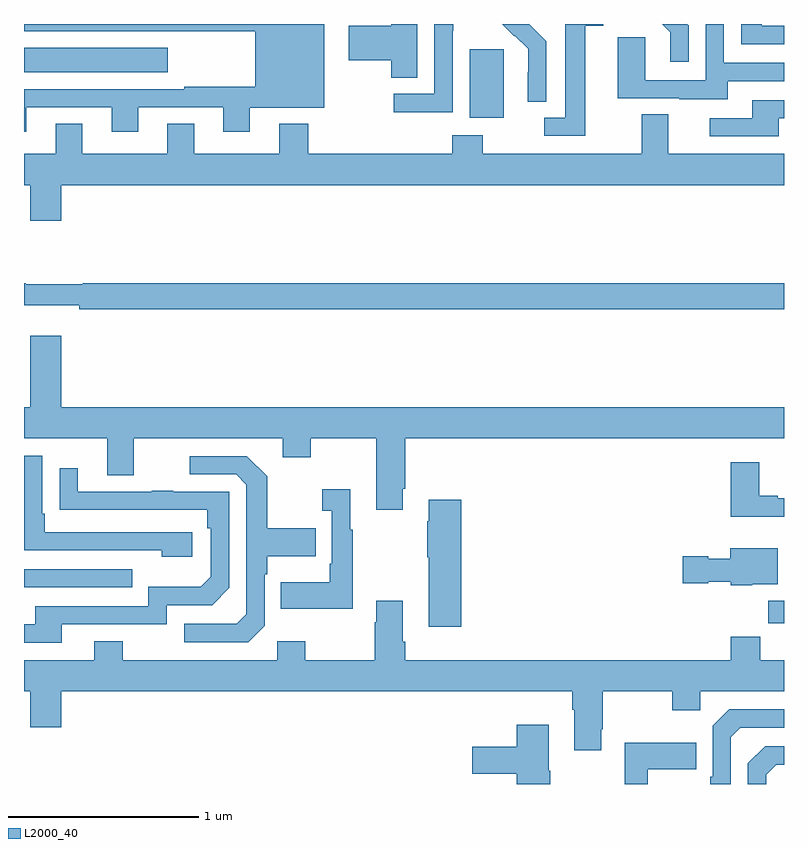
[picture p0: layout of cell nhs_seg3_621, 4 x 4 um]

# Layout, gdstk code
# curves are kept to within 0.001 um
import gdstk
lib = gdstk.Library(unit=1e-6, precision=1e-09)
def R(c, l, rs):  # rectangles x0, y0, x1, y1
    for r in rs: c.add(gdstk.rectangle(r[:2], r[2:], *l))
def P(c, l, *ps):  # polygons
    for p in ps: c.add(gdstk.Polygon(p, *l))
L2000_40 = (2000, 40)

nhs_seg3_621 = lib.new_cell('nhs_seg3_621')
R(nhs_seg3_621, L2000_40, [(144.916,729.246,145,729.364), (141,729.435,141.569,729.531), (143.345,731.906,143.524,732.267), (141,732.146,141.757,732.274)])
P(nhs_seg3_621, L2000_40, [(145,732.39),(144.883,732.39),(144.883,732.4),(144.774,732.4),(144.774,732.294),(145,732.294)],
  [(143.953,732.392),(144.049,732.392),(144.049,732.4),(143.849,732.4),(143.849,731.907),(143.739,731.907),(143.739,731.811),(143.953,731.811)],
  [(144.703,732.099),(145,732.099),(145,732.195),(144.684,732.195),(144.684,732.4),(144.588,732.4),(144.588,732.105),(144.27,732.105),(144.27,732.329),(144.125,732.329),(144.125,732.009),(144.449,732.009),(144.449,732.005),(144.703,732.005)],
  [(143.071,732.4),(142.933,732.4),(142.933,732.392),(142.71,732.392),(142.71,732.209),(142.933,732.209),(142.933,732.118),(143.071,732.118)],
  [(141.013,731.961),(141.461,731.961),(141.461,731.832),(141.601,731.832),(141.601,731.961),(142.049,731.961),(142.049,731.832),(142.189,731.832),(142.189,731.96),(142.579,731.96),(142.579,732.4),(141,732.4),(141,732.362),(142.217,732.362),(142.217,732.07),(141.844,732.07),(141.844,732.057),(141,732.057),(141,731.832),(141.013,731.832)],
  [(144.498,732.394),(144.492,732.4),(144.358,732.4),(144.401,732.357),(144.401,732.201),(144.498,732.201)],
  [(143.748,732.31),(143.675,732.383),(143.676,732.384),(143.66,732.4),(143.516,732.4),(143.58,732.336),(143.583,732.339),(143.654,732.269),(143.654,732.146),(143.652,732.146),(143.652,731.992),(143.748,731.992)],
  [(143.256,732.364),(143.259,732.364),(143.259,732.4),(143.16,732.4),(143.16,732.033),(142.947,732.033),(142.947,731.935),(143.256,731.935)],
  [(144.973,731.904),(145,731.904),(145,732),(144.833,732),(144.833,731.904),(144.609,731.904),(144.609,731.808),(144.973,731.808)],
  [(141.196,731.552),(145,731.552),(145,731.716),(144.391,731.716),(144.391,731.924),(144.251,731.924),(144.251,731.716),(143.415,731.716),(143.415,731.815),(143.255,731.815),(143.255,731.716),(142.496,731.716),(142.496,731.875),(142.343,731.875),(142.343,731.716),(141.895,731.716),(141.895,731.876),(141.755,731.876),(141.755,731.716),(141.307,731.716),(141.307,731.876),(141.167,731.876),(141.167,731.716),(141,731.716),(141,731.552),(141.032,731.552),(141.032,731.364),(141.196,731.364)],
  [(145,731.036),(141.31,731.036),(141.31,731.029),(141.01,731.029),(141.01,731.036),(141,731.036),(141,730.919),(141.292,730.919),(141.292,730.9),(145,730.9)],
  [(142.993,729.955),(143.006,729.955),(143.006,730.22),(145,730.22),(145,730.384),(141.196,730.384),(141.196,730.759),(141.032,730.759),(141.032,730.384),(141,730.384),(141,730.22),(141.437,730.22),(141.437,730.026),(141.577,730.026),(141.577,730.22),(142.361,730.22),(142.361,730.121),(142.509,730.121),(142.509,730.22),(142.853,730.22),(142.853,729.843),(142.993,729.843)],
  [(141.886,729.726),(141.109,729.726),(141.109,729.823),(141.096,729.823),(141.096,730.128),(141,730.128),(141,729.63),(141.725,729.63),(141.725,729.596),(141.886,729.596)],
  [(142.266,729.234),(142.266,729.503),(142.279,729.503),(142.279,729.599),(142.535,729.599),(142.535,729.747),(142.279,729.747),(142.279,730.019),(142.173,730.125),(141.873,730.125),(141.873,730.029),(142.116,730.029),(142.17,729.975),(142.17,729.294),(142.119,729.243),(141.843,729.243),(141.843,729.147),(142.179,729.147)],
  [(145,729.903),(144.967,729.903),(144.967,729.916),(144.871,729.916),(144.871,730.093),(144.719,730.093),(144.719,729.806),(145,729.806)],
  [(141.199,729.24),(141.75,729.24),(141.75,729.342),(141.99,729.342),(142.08,729.432),(142.08,729.939),(141.785,729.939),(141.785,729.944),(141.673,729.944),(141.673,729.939),(141.283,729.939),(141.283,730.063),(141.187,730.063),(141.187,729.844),(141.964,729.843),(141.964,729.746),(141.984,729.746),(141.984,729.492),(141.931,729.439),(141.654,729.439),(141.654,729.336),(141.059,729.336),(141.059,729.24),(141,729.24),(141,729.144),(141.199,729.144)],
  [(142.729,729.739),(142.717,729.739),(142.717,729.952),(142.569,729.952),(142.569,729.839),(142.62,729.839),(142.62,729.559),(142.608,729.559),(142.608,729.463),(142.351,729.463),(142.351,729.323),(142.729,729.323)],
  [(143.302,729.895),(143.129,729.895),(143.129,729.782),(143.122,729.782),(143.122,729.593),(143.129,729.593),(143.129,729.228),(143.302,729.228)],
  [(144.834,729.452),(144.967,729.452),(144.967,729.64),(144.716,729.64),(144.716,729.586),(144.6,729.586),(144.6,729.599),(144.468,729.599),(144.468,729.457),(144.6,729.457),(144.6,729.464),(144.72,729.464),(144.72,729.446),(144.834,729.446)],
  [(142.993,729.148),(142.993,729.364),(142.853,729.364),(142.853,729.251),(142.846,729.251),(142.846,729.052),(142.479,729.052),(142.479,729.151),(142.332,729.151),(142.332,729.052),(141.519,729.052),(141.519,729.151),(141.371,729.151),(141.371,729.052),(141,729.052),(141,728.888),(141.032,728.888),(141.032,728.7),(141.196,728.7),(141.196,728.888),(143.885,728.888),(143.885,728.792),(143.897,728.792),(143.897,728.577),(144.037,728.577),(144.037,728.689),(144.045,728.689),(144.045,728.888),(144.412,728.888),(144.412,728.789),(144.558,728.789),(144.558,728.888),(145,728.888),(145,729.052),(144.875,729.052),(144.875,729.176),(144.719,729.176),(144.719,729.052),(143.006,729.052),(143.006,729.148)],
  [(144.72,728.646),(144.771,728.697),(145,728.697),(145,728.793),(144.711,728.793),(144.624,728.706),(144.624,728.437),(144.612,728.437),(144.612,728.4),(144.72,728.4)],
  [(143.769,728.469),(143.761,728.469),(143.761,728.713),(143.594,728.713),(143.594,728.595),(143.358,728.595),(143.358,728.453),(143.594,728.453),(143.594,728.4),(143.769,728.4)],
  [(144.283,728.477),(144.539,728.477),(144.539,728.617),(144.162,728.617),(144.162,728.4),(144.283,728.4)],
  [(144.906,728.448),(144.959,728.501),(145,728.501),(145,728.598),(144.9,728.598),(144.81,728.508),(144.81,728.4),(144.906,728.4)])

lib.write_gds('nhs_seg3_621.gds')
